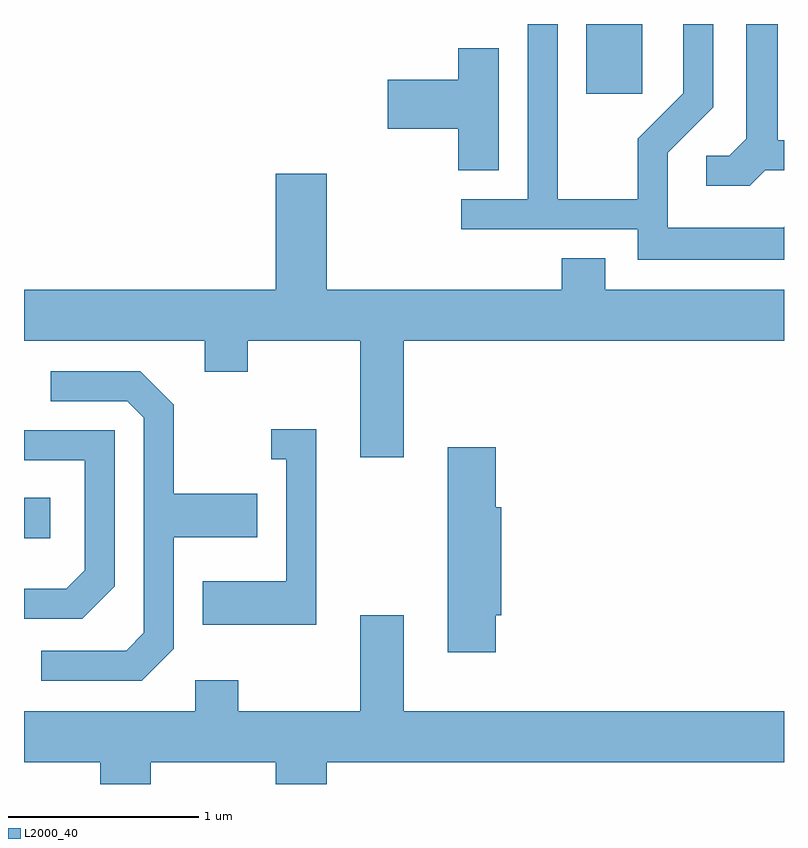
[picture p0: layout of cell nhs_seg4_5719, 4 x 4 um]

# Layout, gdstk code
import gdstk
lib = gdstk.Library(unit=1e-6, precision=1e-09)
def R(c, l, rs):  # rectangles x0, y0, x1, y1
    for r in rs: c.add(gdstk.rectangle(r[:2], r[2:], *l))
def P(c, l, *ps):  # polygons
    for p in ps: c.add(gdstk.Polygon(p, *l))
L2000_40 = (2000, 40)

nhs_seg4_5719 = lib.new_cell('nhs_seg4_5719')
R(nhs_seg4_5719, L2000_40, [(353.611,1269.276,353.749,1269.489), (356.571,1271.616,356.864,1271.982)])
P(nhs_seg4_5719, L2000_40, [(357.512,1271.211),(357.611,1271.211),(357.611,1271.369),(357.579,1271.369),(357.579,1271.982),(357.411,1271.982),(357.411,1271.377),(357.324,1271.289),(357.203,1271.289),(357.203,1271.131),(357.432,1271.131)],
  [(357.611,1270.916),(357.604,1270.909),(356.999,1270.909),(356.999,1271.304),(357.239,1271.544),(357.239,1271.982),(357.081,1271.982),(357.081,1271.617),(356.841,1271.377),(356.841,1271.059),(356.419,1271.059),(356.419,1271.982),(356.261,1271.982),(356.261,1271.059),(355.913,1271.059),(355.913,1270.901),(356.841,1270.901),(356.841,1270.741),(357.611,1270.741)],
  [(356.109,1271.854),(355.896,1271.854),(355.896,1271.689),(355.526,1271.689),(355.526,1271.431),(355.896,1271.431),(355.896,1271.211),(356.109,1271.211)],
  [(355.609,1270.316),(357.611,1270.316),(357.611,1270.584),(356.669,1270.584),(356.669,1270.749),(356.441,1270.749),(356.441,1270.584),(355.204,1270.584),(355.204,1271.194),(354.936,1271.194),(354.936,1270.584),(353.611,1270.584),(353.611,1270.316),(354.561,1270.316),(354.561,1270.151),(354.789,1270.151),(354.789,1270.316),(355.381,1270.316),(355.381,1269.701),(355.609,1269.701)],
  [(354.399,1268.694),(354.399,1269.281),(354.839,1269.281),(354.839,1269.509),(354.399,1269.509),(354.399,1269.977),(354.222,1270.154),(353.753,1270.154),(353.753,1269.996),(354.154,1269.996),(354.241,1269.909),(354.241,1268.777),(354.149,1268.684),(353.703,1268.684),(353.703,1268.526),(354.232,1268.526)],
  [(355.149,1269.849),(354.913,1269.849),(354.913,1269.691),(354.991,1269.691),(354.991,1269.049),(354.551,1269.049),(354.551,1268.821),(355.149,1268.821)],
  [(354.089,1269.024),(354.089,1269.844),(353.611,1269.844),(353.611,1269.686),(353.931,1269.686),(353.931,1269.107),(353.834,1269.009),(353.611,1269.009),(353.611,1268.851),(353.917,1268.851)],
  [(356.094,1268.871),(356.124,1268.871),(356.124,1269.439),(356.094,1269.439),(356.094,1269.754),(355.841,1269.754),(355.841,1268.676),(356.094,1268.676)],
  [(354.279,1268.096),(354.936,1268.096),(354.936,1267.982),(355.204,1267.982),(355.204,1268.096),(357.611,1268.096),(357.611,1268.364),(355.609,1268.364),(355.609,1268.869),(355.381,1268.869),(355.381,1268.364),(354.739,1268.364),(354.739,1268.529),(354.511,1268.529),(354.511,1268.364),(353.611,1268.364),(353.611,1268.096),(354.011,1268.096),(354.011,1267.982),(354.279,1267.982)])

lib.write_gds('nhs_seg4_5719.gds')
